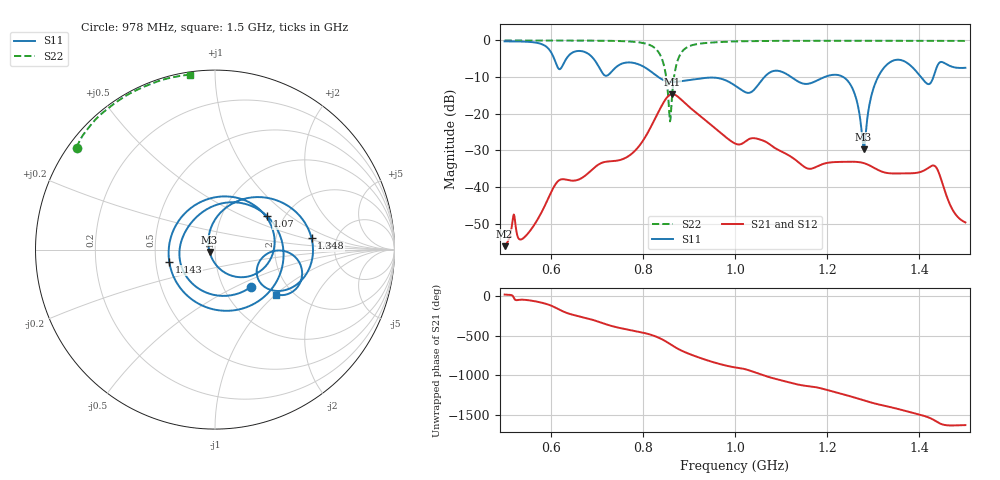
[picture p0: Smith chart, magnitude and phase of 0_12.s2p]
! TOUCHSTONE file generated by CST MICROWAVE STUDIO
! Date and time: Sat Oct 24 10:42:57 2020
! Project name: Scenario_1_Planar_Body_Tissue_Center.cst
! Parameters = {hfat=3; hmuscle=50; hskin=1.5; hgap=25; Wtissue=700; Ltissue=700; L_HA=400; MT=2.54; Rad_Dielectric=30; Rad_Lower=7.3; Rad_Upper=30; a_HA=580; a_WG=246; b_HA=500; b_WG=121; c_HA=0; c_WG=187; d_feed=85; dx1=363.52; h_feed=15; h_lower=18; h_upper=40}
! Header version: 2018
! Port assignment regex: !\s*Touchstone port\s*([0-9]+)\s*=\s*(CST MWS port|CST DS port)\s*([0-9]+|Zmin|Zmax)\s*\(\"(.*)\"\)(\s*mode\s*([0-9]+))?.*
! Touchstone port assignment:
! Touchstone port 1 = CST MWS port 1 ("")
! Touchstone port 2 = CST MWS port 2 ("")
# GHz S DB R 50
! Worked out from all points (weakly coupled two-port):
!   1003 points, 500 MHz to 1.5 GHz, reference 50 ohm
!   highest |S21| = -14.64 dB at 864 MHz (marker M1); lowest = -56.1 dB at 500 MHz (marker M2)
!   lowest |S11| = -29.6 dB at 1.279 GHz (marker M3), VSWR 1.07, Z = 47 - j1.2 ohm
!   |S11| at or under -10 dB: 833.8 MHz to 1.064 GHz (229.9 MHz wide, 24.2 % of centre); 1.122 GHz to 1.194 GHz (71.59 MHz wide, 6.18 % of centre); 1.235 GHz to 1.31 GHz (75.04 MHz wide, 5.9 % of centre) (the widest 3 of 4)
!   |S22| runs from -22.1 to 0.0 dB; largest |S21 - S12| = 4.6e-05
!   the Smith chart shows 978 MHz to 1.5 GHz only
!   S11 on the Smith chart (normalised r, x): 978 MHz: 1.35, -0.61; 1.07 GHz: 1.64, +0.69; 1.143 GHz: 0.59, -0.09; 1.348 GHz: 3.25, +0.59; 1.5 GHz: 1.64, -1.01
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0.5  -0.26 -121.4  -56.09 21.4  -56.09 21.4  -0.01 151.2
0.667  -2.92 144.3  -37.54 98.9  -37.54 98.9  -0.04 138.4
0.708  -8.00 26.4  -33.53 29.0  -33.53 29.0  -0.08 133.9
0.731  -8.68 -96.5  -32.94 -13.9  -32.94 -13.9  -0.12 130.7
0.76  -6.12 175.0  -32.16 -53.4  -32.16 -53.4  -0.22 125.5
0.795  -6.74 98.9  -28.28 -93.5  -28.28 -93.5  -0.58 115.1
0.834  -10.02 1.6  -19.45 -163.1  -19.45 -163.1  -3.18 85.6
0.864  -11.34 -98.1  -14.64 97.4  -14.64 97.4  -14.13 -121.8
0.88  -11.17 -155.4  -15.77 43.8  -15.77 43.8  -4.10 -168.6
0.919  -10.48 90.6  -20.04 -48.8  -20.04 -48.8  -0.96 157.8
0.978  -10.78 -45.9  -26.17 -153.1  -26.17 -153.1  -0.37 143.6
1  -12.30 -103.4  -28.10 -179.7  -28.10 -179.7  -0.26 140.3
1.07  -9.24 32.7  -27.86 65.6  -27.86 65.6  -0.14 132.5
1.108  -8.90 -68.5  -30.73 5.9  -30.73 5.9  -0.12 129.0
1.143  -11.57 -164.9  -33.76 -43.1  -33.76 -43.1  -0.11 126.1
1.167  -11.54 125.3  -34.93 -61.8  -34.93 -61.8  -0.10 124.2
1.244  -10.93 -23.5  -33.08 -174.2  -33.08 -174.2  -0.08 118.3
1.279  -29.64 -157.2  -33.43 125.5  -33.43 125.5  -0.09 115.7
1.334  -6.15 26.3  -36.20 43.3  -36.20 43.3  -0.09 111.5
1.348  -5.33 6.8  -36.27 23.9  -36.27 23.9  -0.09 110.5
1.433  -9.08 -0.8  -34.18 -129.4  -34.18 -129.3  -0.10 103.7
1.5  -7.46 -36.6  -49.62 171.5  -49.62 171.5  -0.13 98.0
